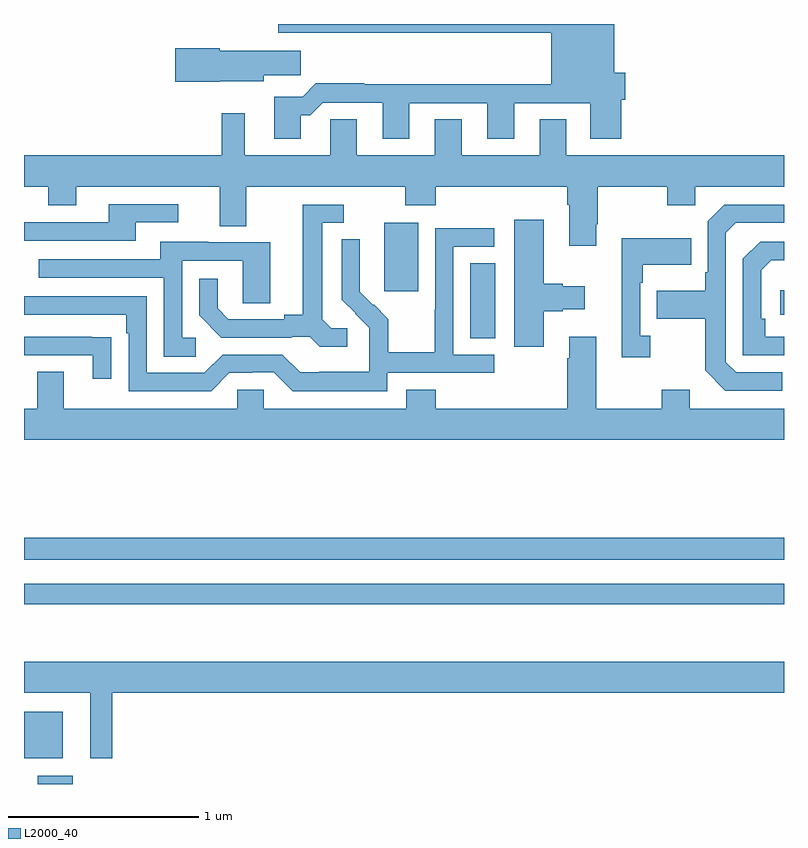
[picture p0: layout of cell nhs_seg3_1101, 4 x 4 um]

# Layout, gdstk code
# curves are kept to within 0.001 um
import gdstk
lib = gdstk.Library(unit=1e-6, precision=1e-09)
def R(c, l, rs):  # rectangles x0, y0, x1, y1
    for r in rs: c.add(gdstk.rectangle(r[:2], r[2:], *l))
def P(c, l, *ps):  # polygons
    for p in ps: c.add(gdstk.Polygon(p, *l))
L2000_40 = (2000, 40)

nhs_seg3_1101 = lib.new_cell('nhs_seg3_1101')
R(nhs_seg3_1101, L2000_40, [(167.073,736.4,167.257,736.444), (167,736.535,167.203,736.78), (167,737.346,171,737.454), (167,737.58,171,737.696), (169.349,738.745,169.48,739.142), (170.979,738.87,171,739), (168.896,738.993,169.075,739.354)])
P(nhs_seg3_1101, L2000_40, [(168.457,739.919),(168.506,739.919),(168.573,739.986),(168.887,739.986),(168.887,739.797),(169.027,739.797),(169.027,739.983),(169.439,739.983),(169.439,739.797),(169.579,739.797),(169.579,739.983),(169.979,739.983),(169.979,739.797),(170.144,739.797),(170.144,740.002),(170.164,740.002),(170.164,740.144),(170.107,740.144),(170.107,740.4),(168.338,740.4),(168.338,740.354),(169.775,740.354),(169.775,740.084),(168.791,740.084),(168.791,740.087),(168.536,740.087),(168.466,740.017),(168.317,740.017),(168.317,739.797),(168.457,739.797)],
  [(168.03,740.099),(168.262,740.099),(168.262,740.131),(168.457,740.131),(168.457,740.26),(168.03,740.26),(168.03,740.273),(167.796,740.273),(167.796,740.095),(168.03,740.095)],
  [(170.011,739.345),(170.019,739.345),(170.019,739.544),(170.386,739.544),(170.386,739.445),(170.532,739.445),(170.532,739.544),(171,739.544),(171,739.708),(169.855,739.708),(169.855,739.898),(169.715,739.898),(169.715,739.708),(169.303,739.708),(169.303,739.898),(169.163,739.898),(169.163,739.708),(168.751,739.708),(168.751,739.898),(168.612,739.898),(168.612,739.708),(168.163,739.708),(168.163,739.93),(168.042,739.93),(168.042,739.708),(167,739.708),(167,739.544),(167.128,739.544),(167.128,739.445),(167.275,739.445),(167.275,739.544),(168.029,739.544),(168.029,739.336),(168.169,739.336),(168.169,739.544),(169.006,739.544),(169.006,739.445),(169.166,739.445),(169.166,739.544),(169.859,739.544),(169.859,739.448),(169.871,739.448),(169.871,739.233),(170.011,739.233)],
  [(167.587,739.356),(167.812,739.356),(167.812,739.452),(167.447,739.452),(167.447,739.356),(167,739.356),(167,739.26),(167.587,739.26)],
  [(170.992,738.567),(170.748,738.567),(170.694,738.621),(170.694,739.302),(170.745,739.353),(171,739.353),(171,739.449),(170.685,739.449),(170.598,739.362),(170.598,739.093),(170.586,739.093),(170.586,738.997),(170.329,738.997),(170.329,738.85),(170.586,738.85),(170.586,738.577),(170.691,738.471),(170.992,738.471)],
  [(168.7,738.798),(168.618,738.798),(168.571,738.845),(168.571,739.353),(168.682,739.353),(168.682,739.449),(168.467,739.449),(168.467,738.869),(168.371,738.869),(168.371,738.846),(168.076,738.846),(168.019,738.903),(168.019,739.06),(167.922,739.06),(167.922,738.866),(168.038,738.75),(168.41,738.75),(168.41,738.753),(168.504,738.753),(168.556,738.701),(168.7,738.701)],
  [(169.735,738.887),(169.835,738.887),(169.835,738.899),(169.951,738.899),(169.951,739.021),(169.835,739.021),(169.835,739.034),(169.735,739.034),(169.735,739.369),(169.58,739.369),(169.58,738.702),(169.735,738.702)],
  [(168.912,738.564),(169.474,738.564),(169.474,738.66),(169.26,738.66),(169.26,739.227),(169.474,739.227),(169.474,739.326),(169.164,739.326),(169.164,738.896),(169.162,738.896),(169.162,738.673),(168.917,738.673),(168.917,738.847),(168.84,738.924),(168.837,738.921),(168.767,738.992),(168.768,739.268),(168.672,739.268),(168.672,738.95),(168.818,738.802),(168.818,738.705),(168.816,738.705),(168.816,738.571),(168.553,738.571),(168.553,738.567),(168.453,738.567),(168.36,738.66),(168.045,738.66),(167.949,738.564),(167.646,738.564),(167.646,738.966),(167,738.966),(167,738.87),(167.537,738.87),(167.537,738.773),(167.55,738.773),(167.55,738.468),(167.985,738.468),(168.081,738.564),(168.2,738.564),(168.2,738.567),(168.315,738.567),(168.415,738.467),(168.912,738.467)],
  [(170.296,738.758),(170.244,738.758),(170.244,739.037),(170.257,739.037),(170.257,739.133),(170.513,739.133),(170.513,739.273),(170.147,739.273),(170.147,738.645),(170.296,738.645)],
  [(167.905,738.75),(167.832,738.75),(167.832,739.155),(168.15,739.155),(168.15,738.931),(168.295,738.931),(168.295,739.251),(167.971,739.251),(167.971,739.255),(167.717,739.255),(167.717,739.161),(167.077,739.161),(167.077,739.065),(167.736,739.065),(167.736,738.649),(167.905,738.649)],
  [(171,738.753),(170.9,738.753),(170.9,738.85),(170.88,738.85),(170.88,739.104),(170.933,739.157),(171,739.157),(171,739.254),(170.874,739.254),(170.784,739.164),(170.784,738.657),(171,738.657)],
  [(171,738.376),(170.503,738.376),(170.503,738.475),(170.356,738.475),(170.356,738.376),(170.011,738.376),(170.011,738.754),(169.871,738.754),(169.871,738.641),(169.859,738.641),(169.859,738.376),(169.166,738.376),(169.166,738.475),(169.013,738.475),(169.013,738.376),(168.261,738.376),(168.261,738.474),(168.123,738.474),(168.123,738.376),(167.209,738.376),(167.209,738.571),(167.069,738.571),(167.069,738.376),(167,738.376),(167,738.212),(171,738.212)],
  [(167.459,738.752),(167.357,738.752),(167.357,738.753),(167,738.753),(167,738.657),(167.363,738.657),(167.363,738.534),(167.459,738.534)],
  [(167.465,736.88),(171,736.88),(171,737.044),(167,737.044),(167,736.88),(167.348,736.88),(167.348,736.536),(167.465,736.536)])

lib.write_gds('nhs_seg3_1101.gds')
